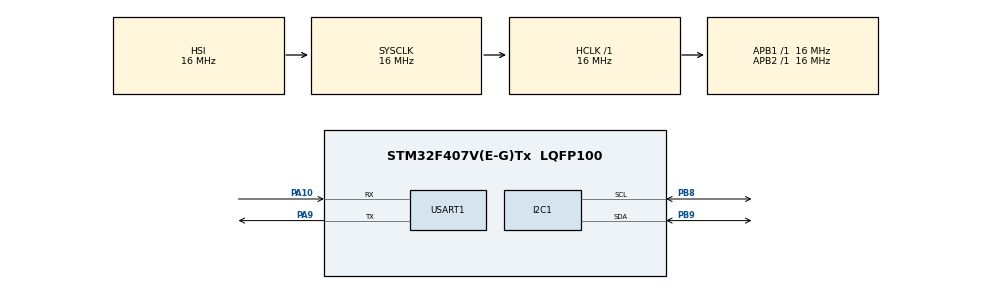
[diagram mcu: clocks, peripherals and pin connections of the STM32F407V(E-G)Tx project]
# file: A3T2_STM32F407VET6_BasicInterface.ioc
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Mcu.Family=STM32F4
Mcu.Name=STM32F407V(E-G)Tx
Mcu.Package=LQFP100
NVIC.PriorityGroup=NVIC_PRIORITYGROUP_4
PA10.Mode=Asynchronous
PA10.Signal=USART1_RX
PA9.Mode=Asynchronous
PA9.Signal=USART1_TX
PB8.Mode=I2C
PB8.Signal=I2C1_SCL
PB9.Mode=I2C
PB9.Signal=I2C1_SDA
ProjectManager.HeapSize=0x200
ProjectManager.StackSize=0x400
ProjectManager.TargetToolchain=STM32CubeIDE
RCC.AHBFreq_Value=16000000
RCC.APB1Freq_Value=16000000
RCC.APB2Freq_Value=16000000
RCC.CortexFreq_Value=16000000
RCC.HSE_VALUE=25000000
RCC.HSI_VALUE=16000000
RCC.LSE_VALUE=32768
RCC.SYSCLKFreq_VALUE=16000000
RCC.VCOOutputFreq_Value=192000000
USART1.VirtualMode=VM_ASYNC
board=custom

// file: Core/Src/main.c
/* USER CODE BEGIN Header */
/**
  ******************************************************************************
  * @file           : main.c
  * @brief          : Main program body
  ******************************************************************************
  * @attention
  *
  * Copyright (c) 2022 STMicroelectronics.
  * All rights reserved.
  *
  * This software is licensed under terms that can be found in the LICENSE file
  * in the root directory of this software component.
  * If no LICENSE file comes with this software, it is provided AS-IS.
  *
  ******************************************************************************
  */
/* USER CODE END Header */
#include "main.h"

/* USER CODE BEGIN Includes */
#include <stdio.h>
/* USER CODE END Includes */

I2C_HandleTypeDef hi2c1;

UART_HandleTypeDef huart1;

/* USER CODE BEGIN PV */

#define MPU6050_ADDR 0xD0

#define SMPLRT_DIV_REG 0x19
#define GYRO_CONFIG_REG 0x1B
#define ACCEL_CONFIG_REG 0x1C
#define ACCEL_XOUT_H_REG 0x3B
#define TEMP_OUT_H_REG 0x41
#define GYRO_XOUT_H_REG 0x43
#define PWR_MGMT_1_REG 0x6B
#define WHO_AM_I_REG 0x75

int16_t Accel_X_RAW = 0;
int16_t Accel_Y_RAW = 0;
int16_t Accel_Z_RAW = 0;

float Ax, Ay, Az;
//uint8_t checkGlobal;
uint8_t buf [40] = {'\0'}; // data to be transmitted
/* USER CODE END PV */

void SystemClock_Config(void);
static void MX_GPIO_Init(void);
static void MX_I2C1_Init(void);
static void MX_USART1_UART_Init(void);
/* USER CODE BEGIN PFP */
void MPU6050_Init (void);
void MPU6050_Read_Accel (void);
/* USER CODE END PFP */

int main(void)
{

  /* MCU Configuration--------------------------------------------------------*/

  /* Reset of all peripherals, Initializes the Flash interface and the Systick. */
  HAL_Init();

  /* Configure the system clock */
  SystemClock_Config();

  /* Initialize all configured peripherals */
  MX_GPIO_Init();
  MX_I2C1_Init();
  MX_USART1_UART_Init();
  /* USER CODE BEGIN 2 */
  MPU6050_Init();
  /* USER CODE END 2 */

  /* Infinite loop */
  /* USER CODE BEGIN WHILE */

  while (1)
  {
	  //Check if WhoAmI Register returns correct value
	  //sprintf((char*)bufData, "OK-%d\r\n", checkGlobal);
	  //HAL_UART_Transmit (& huart1 , bufData , sizeof ( bufData ) , 50) ; // transmit the data
    /* USER CODE BEGIN 3 */
	  MPU6050_Read_Accel(); // read acceleration data from MPU6050
	  sprintf ((char*)buf, "Ax:%.2f Ay:%.2f Az:%.2f\r\n", Ax, Ay, Az);
	  HAL_UART_Transmit (& huart1 , buf , sizeof ( buf ) , 50) ; // transmit the data
	  HAL_Delay (100) ; // wait for 100ms before reading the sensor again
  }
  /* USER CODE END 3 */
}

void SystemClock_Config(void)
{
  RCC_OscInitTypeDef RCC_OscInitStruct = {0};
  RCC_ClkInitTypeDef RCC_ClkInitStruct = {0};

  /** Configure the main internal regulator output voltage
  */
  __HAL_RCC_PWR_CLK_ENABLE();
  __HAL_PWR_VOLTAGESCALING_CONFIG(PWR_REGULATOR_VOLTAGE_SCALE1);

  /** Initializes the RCC Oscillators according to the specified parameters
  * in the RCC_OscInitTypeDef structure.
  */
  RCC_OscInitStruct.OscillatorType = RCC_OSCILLATORTYPE_HSI;
  RCC_OscInitStruct.HSIState = RCC_HSI_ON;
  RCC_OscInitStruct.HSICalibrationValue = RCC_HSICALIBRATION_DEFAULT;
  RCC_OscInitStruct.PLL.PLLState = RCC_PLL_NONE;
  if (HAL_RCC_OscConfig(&RCC_OscInitStruct) != HAL_OK)
  {
    Error_Handler();
  }

  /** Initializes the CPU, AHB and APB buses clocks
  */
  RCC_ClkInitStruct.ClockType = RCC_CLOCKTYPE_HCLK|RCC_CLOCKTYPE_SYSCLK
                              |RCC_CLOCKTYPE_PCLK1|RCC_CLOCKTYPE_PCLK2;
  RCC_ClkInitStruct.SYSCLKSource = RCC_SYSCLKSOURCE_HSI;
  RCC_ClkInitStruct.AHBCLKDivider = RCC_SYSCLK_DIV1;
  RCC_ClkInitStruct.APB1CLKDivider = RCC_HCLK_DIV1;
  RCC_ClkInitStruct.APB2CLKDivider = RCC_HCLK_DIV1;

  if (HAL_RCC_ClockConfig(&RCC_ClkInitStruct, FLASH_LATENCY_0) != HAL_OK)
  {
    Error_Handler();
  }
}

static void MX_I2C1_Init(void)
{

  hi2c1.Instance = I2C1;
  hi2c1.Init.ClockSpeed = 100000;
  hi2c1.Init.DutyCycle = I2C_DUTYCYCLE_2;
  hi2c1.Init.OwnAddress1 = 0;
  hi2c1.Init.AddressingMode = I2C_ADDRESSINGMODE_7BIT;
  hi2c1.Init.DualAddressMode = I2C_DUALADDRESS_DISABLE;
  hi2c1.Init.OwnAddress2 = 0;
  hi2c1.Init.GeneralCallMode = I2C_GENERALCALL_DISABLE;
  hi2c1.Init.NoStretchMode = I2C_NOSTRETCH_DISABLE;
  if (HAL_I2C_Init(&hi2c1) != HAL_OK)
  {
    Error_Handler();
  }

}

static void MX_USART1_UART_Init(void)
{

  huart1.Instance = USART1;
  huart1.Init.BaudRate = 115200;
  huart1.Init.WordLength = UART_WORDLENGTH_8B;
  huart1.Init.StopBits = UART_STOPBITS_1;
  huart1.Init.Parity = UART_PARITY_NONE;
  huart1.Init.Mode = UART_MODE_TX_RX;
  huart1.Init.HwFlowCtl = UART_HWCONTROL_NONE;
  huart1.Init.OverSampling = UART_OVERSAMPLING_16;
  if (HAL_UART_Init(&huart1) != HAL_OK)
  {
    Error_Handler();
  }

}

static void MX_GPIO_Init(void)
{

  /* GPIO Ports Clock Enable */
  __HAL_RCC_GPIOA_CLK_ENABLE();
  __HAL_RCC_GPIOB_CLK_ENABLE();

}

/* USER CODE BEGIN 4 */
void MPU6050_Init (void)
{
	uint8_t check;
	uint8_t Data;

	// check device ID WHO_AM_I

	HAL_I2C_Mem_Read (&hi2c1, MPU6050_ADDR, WHO_AM_I_REG, 1, &check, 1, 1000);

	//checkGlobal = check;

	if (check == 104)  // 0x68 will be returned by the sensor if everything goes well
	{
		// power management register 0X6B we should write all 0's to wake the sensor up
		Data = 0;
		HAL_I2C_Mem_Write(&hi2c1, MPU6050_ADDR, PWR_MGMT_1_REG, 1, &Data, 1, 1000);

		// Set DATA RATE of 1KHz by writing SMPLRT_DIV register
		Data = 0x07;
		HAL_I2C_Mem_Write(&hi2c1, MPU6050_ADDR, SMPLRT_DIV_REG, 1, &Data, 1, 1000);

		// Set accelerometer configuration in ACCEL_CONFIG Register
		// XA_ST=0,YA_ST=0,ZA_ST=0, FS_SEL=0 -> ± 2g
		Data = 0x00;
		HAL_I2C_Mem_Write(&hi2c1, MPU6050_ADDR, ACCEL_CONFIG_REG, 1, &Data, 1, 1000);

		// Set Gyroscopic configuration in GYRO_CONFIG Register
		// XG_ST=0,YG_ST=0,ZG_ST=0, FS_SEL=0 -> ± 250 °/s
		Data = 0x00;
		HAL_I2C_Mem_Write(&hi2c1, MPU6050_ADDR, GYRO_CONFIG_REG, 1, &Data, 1, 1000);
	}
}

void MPU6050_Read_Accel (void)
{
	uint8_t Rec_Data[6];

	// Read 6 BYTES of data starting from ACCEL_XOUT_H register

	HAL_I2C_Mem_Read (&hi2c1, MPU6050_ADDR, ACCEL_XOUT_H_REG, 1, Rec_Data, 6, 1000);

	Accel_X_RAW = (int16_t)(Rec_Data[0] << 8 | Rec_Data [1]);
	Accel_Y_RAW = (int16_t)(Rec_Data[2] << 8 | Rec_Data [3]);
	Accel_Z_RAW = (int16_t)(Rec_Data[4] << 8 | Rec_Data [5]);

	/*** convert the RAW values into acceleration in 'g'
	     we have to divide according to the Full scale value set in FS_SEL
	     configured FS_SEL = 0. So dividing by 16384.0
	     for more details check ACCEL_CONFIG Register ****/

	Ax = Accel_X_RAW/16384.0;
	Ay = Accel_Y_RAW/16384.0;
	Az = Accel_Z_RAW/16384.0;
}
/* USER CODE END 4 */

void Error_Handler(void)
{
  __disable_irq();
  while (1)
  {
  }
}
